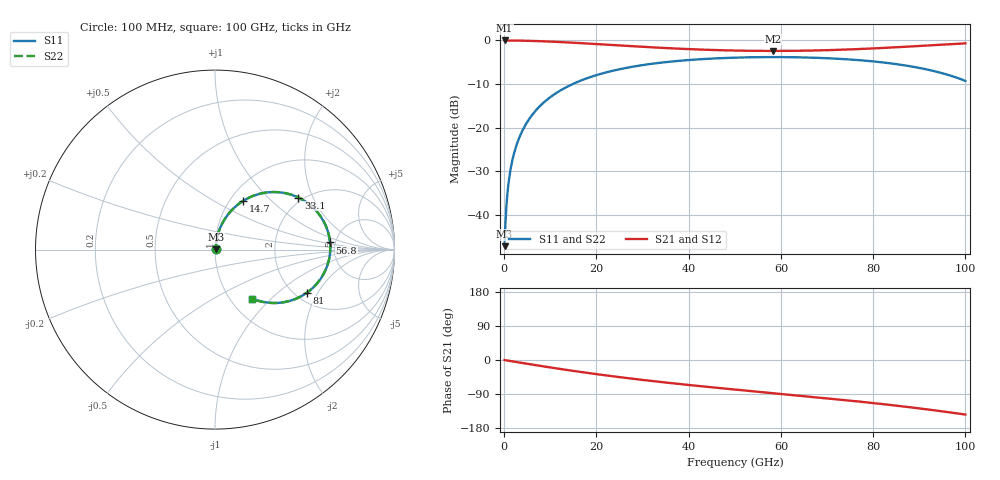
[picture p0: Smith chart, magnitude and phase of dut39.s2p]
! Touchstone file exported from HFSS 2026.1.0
!  File:  C:/ffzhzh/LocalFiles/Ansys_Project_Files/temp_train_RDL_39_1783498116_31944.aedt
!  Generated:  04:09:40 PM Jul  8, 2026
!  Design:  RDL
!  Project:  temp_train_RDL_39_1783498116_31944
! Variables:
!  h_bsmrdl = 2um
!  h_ox = 20um
!  h_rdl = 5um
!  h_sub = 80um
!  h_tmrdl = 2.83um
!  h_tsv = 80um
!  h_via = 3um
!  l_bsmrdl = 300um
!  l_sub = 888.06um
!  l_tmrdl = 488.06um
!  m_sub = 200um
!  pitch = 51.26um
!  r_tsv = 6um
!  s_tmrdl = 10um
!  w_bsmrdl = 18um
!  w_sub = 500um
!  w_tmrdl = 17.86um
!  x_tsv_center1 = 496.99um
!  x_tsv_center2 = 814.99um
!  x_tsv_center3 = 1320.91um
!  x_tsv_center4 = 1638.91um
!  x_tsv_center5 = 2144.83um
!  x_tsv_center6 = 2462.83um
# GHz S MA R 50.000000
! Terminal data exported
! Port[1] = TM_RDL1_1_T1
! Port[2] = TM_RDL1_1_T2
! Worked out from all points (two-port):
!   1000 points, 100 MHz to 100 GHz, reference 50 ohm
!   highest |S21| = -0.03 dB at 100 MHz (marker M1); lowest = -2.4 dB at 58.3 GHz (marker M2)
!   |S21| within 3 dB of the highest: start of sweep to end of sweep
!   lowest |S11| = -47.2 dB at 100 MHz (marker M3), VSWR 1.01, Z = 50.4 + j0.253 ohm
!   |S11| at or under -10 dB: start of sweep to 14.89 GHz
!   |S22| runs from -47.2 to -3.8 dB; largest |S21 - S12| = 2.5e-14
!   S11 on the Smith chart (normalised r, x): 100 MHz: 1.01, +0.01; 14.7 GHz: 1.15, +0.69; 33.1 GHz: 1.89, +1.56; 56.8 GHz: 4.50, +0.61; 81 GHz: 2.31, -1.63; 100 GHz: 1.26, -0.78
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0.1  0.004386 34.9  0.9964 -0.2  0.9964 -0.2  0.004386 34.9
! Gamma 0 0 0 0
! Port Impedance 50 0 50 0
0.9  0.02199 76.8  0.9955 -1.8  0.9955 -1.8  0.02199 76.9
1.4  0.03347 79.4  0.9949 -2.8  0.9949 -2.8  0.03347 79.4
2.4  0.05655 80.3  0.9936 -4.9  0.9936 -4.9  0.05655 80.3
3.7  0.08643 79.1  0.9911 -7.4  0.9911 -7.4  0.08643 79.1
5.6  0.1293 76.2  0.9858 -11.2  0.9858 -11.2  0.1293 76.2
8  0.1816 72.0  0.9766 -15.9  0.9766 -15.9  0.1816 72.0
11  0.2433 66.5  0.9619 -21.5  0.9619 -21.5  0.2433 66.6
14.7  0.3128 60.0  0.9405 -28.3  0.9405 -28.3  0.3128 60.1
16.8  0.3489 56.4  0.9273 -31.9  0.9273 -31.9  0.3489 56.5
24.5  0.46 44.2  0.8769 -44.4  0.8769 -44.4  0.46 44.3
33.1  0.5477 32.0  0.8255 -56.9  0.8255 -56.9  0.5477 32.1
33.4  0.5502 31.6  0.8239 -57.3  0.8239 -57.3  0.5502 31.7
41.7  0.6035 21.0  0.7864 -68.0  0.7864 -68.0  0.6035 21.1
50.1  0.6333 11.1  0.7633 -78.0  0.7633 -78.0  0.6333 11.3
56.8  0.6423 3.6  0.7561 -85.8  0.7561 -85.8  0.6423 3.7
58.3  0.6426 1.9  0.7558 -87.5  0.7558 -87.5  0.6426 2.0
66.7  0.633 -7.6  0.7637 -97.2  0.7637 -97.2  0.633 -7.5
81  0.5665 -25.0  0.8122 -114.9  0.8122 -114.9  0.5665 -24.9
83.4  0.5478 -28.2  0.8243 -118.2  0.8243 -118.2  0.5479 -28.1
92.1  0.4581 -40.4  0.8747 -130.9  0.8747 -130.9  0.4581 -40.5
100  0.3431 -52.6  0.9228 -144.0  0.9228 -144.0  0.3431 -52.9
